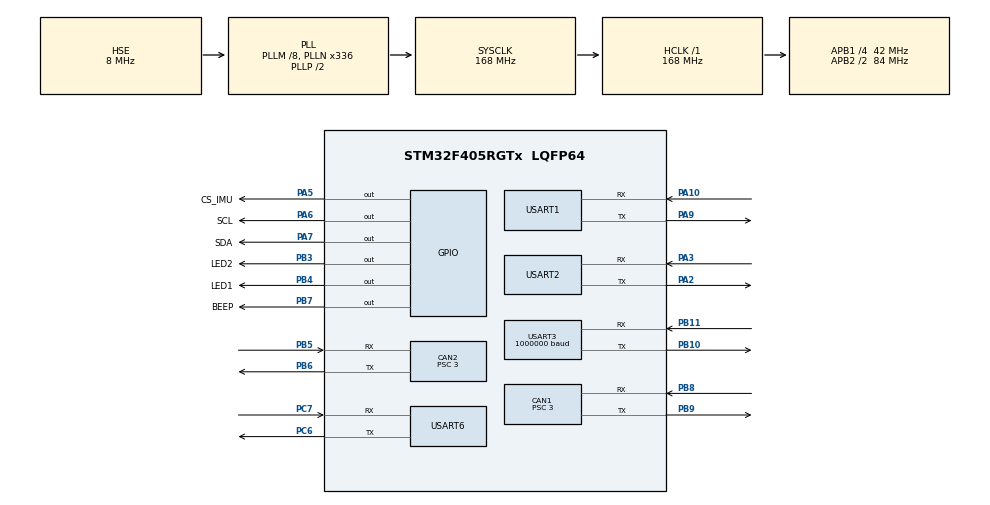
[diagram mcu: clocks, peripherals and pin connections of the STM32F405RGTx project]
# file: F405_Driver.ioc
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CAN1.ABOM=ENABLE
CAN1.BS1=CAN_BS1_9TQ
CAN1.BS2=CAN_BS2_4TQ
CAN1.CalculateBaudRate=1000000
CAN1.CalculateTimeBit=1000
CAN1.CalculateTimeQuantum=71.42857142857143
CAN1.Prescaler=3
CAN2.ABOM=ENABLE
CAN2.BS1=CAN_BS1_9TQ
CAN2.BS2=CAN_BS2_4TQ
CAN2.CalculateBaudRate=1000000
CAN2.CalculateTimeBit=1000
CAN2.CalculateTimeQuantum=71.42857142857143
CAN2.Prescaler=3
Dma.Request0=USART1_RX
Dma.Request1=USART1_TX
Dma.Request2=USART2_RX
Dma.Request3=USART2_TX
Dma.USART1_RX.0.Direction=DMA_PERIPH_TO_MEMORY
Dma.USART1_RX.0.FIFOMode=DMA_FIFOMODE_DISABLE
Dma.USART1_RX.0.Instance=DMA2_Stream2
Dma.USART1_RX.0.MemDataAlignment=DMA_MDATAALIGN_BYTE
Dma.USART1_RX.0.MemInc=DMA_MINC_ENABLE
Dma.USART1_RX.0.Mode=DMA_NORMAL
Dma.USART1_RX.0.PeriphDataAlignment=DMA_PDATAALIGN_BYTE
Dma.USART1_RX.0.PeriphInc=DMA_PINC_DISABLE
Dma.USART1_RX.0.Priority=DMA_PRIORITY_LOW
Dma.USART1_TX.1.Direction=DMA_MEMORY_TO_PERIPH
Dma.USART1_TX.1.FIFOMode=DMA_FIFOMODE_DISABLE
Dma.USART1_TX.1.Instance=DMA2_Stream7
Dma.USART1_TX.1.MemDataAlignment=DMA_MDATAALIGN_BYTE
Dma.USART1_TX.1.MemInc=DMA_MINC_ENABLE
Dma.USART1_TX.1.Mode=DMA_NORMAL
Dma.USART1_TX.1.PeriphDataAlignment=DMA_PDATAALIGN_BYTE
Dma.USART1_TX.1.PeriphInc=DMA_PINC_DISABLE
Dma.USART1_TX.1.Priority=DMA_PRIORITY_LOW
Dma.USART2_RX.2.Direction=DMA_PERIPH_TO_MEMORY
Dma.USART2_RX.2.FIFOMode=DMA_FIFOMODE_DISABLE
Dma.USART2_RX.2.Instance=DMA1_Stream5
Dma.USART2_RX.2.MemDataAlignment=DMA_MDATAALIGN_BYTE
Dma.USART2_RX.2.MemInc=DMA_MINC_ENABLE
Dma.USART2_RX.2.Mode=DMA_NORMAL
Dma.USART2_RX.2.PeriphDataAlignment=DMA_PDATAALIGN_BYTE
Dma.USART2_RX.2.PeriphInc=DMA_PINC_DISABLE
Dma.USART2_RX.2.Priority=DMA_PRIORITY_LOW
Dma.USART2_TX.3.Direction=DMA_MEMORY_TO_PERIPH
Dma.USART2_TX.3.FIFOMode=DMA_FIFOMODE_DISABLE
Dma.USART2_TX.3.Instance=DMA1_Stream6
Dma.USART2_TX.3.MemDataAlignment=DMA_MDATAALIGN_BYTE
Dma.USART2_TX.3.MemInc=DMA_MINC_ENABLE
Dma.USART2_TX.3.Mode=DMA_NORMAL
Dma.USART2_TX.3.PeriphDataAlignment=DMA_PDATAALIGN_BYTE
Dma.USART2_TX.3.PeriphInc=DMA_PINC_DISABLE
Dma.USART2_TX.3.Priority=DMA_PRIORITY_LOW
Mcu.Family=STM32F4
Mcu.Name=STM32F405RGTx
Mcu.Package=LQFP64
NVIC.CAN1_RX0_IRQn=true\:0\:0\:false\:false\:true\:true\:true\:true
NVIC.CAN1_RX1_IRQn=true\:0\:0\:false\:false\:true\:true\:true\:true
NVIC.CAN2_RX0_IRQn=true\:0\:0\:false\:false\:true\:true\:true\:true
NVIC.CAN2_RX1_IRQn=true\:0\:0\:false\:false\:true\:true\:true\:true
NVIC.DMA1_Stream5_IRQn=true\:0\:0\:false\:false\:true\:false\:true\:true
NVIC.DMA1_Stream6_IRQn=true\:0\:0\:false\:false\:true\:false\:true\:true
NVIC.DMA2_Stream2_IRQn=true\:0\:0\:false\:false\:true\:false\:true\:true
NVIC.DMA2_Stream7_IRQn=true\:0\:0\:false\:false\:true\:false\:true\:true
NVIC.PriorityGroup=NVIC_PRIORITYGROUP_4
NVIC.TIM3_IRQn=true\:0\:0\:false\:false\:true\:true\:true\:true
NVIC.USART1_IRQn=true\:0\:0\:false\:false\:true\:true\:true\:true
NVIC.USART2_IRQn=true\:0\:0\:false\:false\:true\:true\:true\:true
NVIC.USART3_IRQn=true\:0\:0\:false\:false\:true\:true\:true\:true
NVIC.USART6_IRQn=true\:0\:0\:false\:false\:true\:true\:true\:true
PA10.Mode=Asynchronous
PA10.Signal=USART1_RX
PA13.Mode=Serial_Wire
PA13.Signal=SYS_JTMS-SWDIO
PA14.Mode=Serial_Wire
PA14.Signal=SYS_JTCK-SWCLK
PA2.Mode=Asynchronous
PA2.Signal=USART2_TX
PA3.Mode=Asynchronous
PA3.Signal=USART2_RX
PA5.GPIO_Label=CS_IMU
PA5.GPIO_PuPd=GPIO_PULLUP
PA5.Signal=GPIO_Output
PA6.GPIO_Label=SCL
PA6.GPIO_Speed=GPIO_SPEED_FREQ_VERY_HIGH
PA6.Signal=GPIO_Output
PA7.GPIO_Label=SDA
PA7.GPIO_Speed=GPIO_SPEED_FREQ_VERY_HIGH
PA7.PinState=GPIO_PIN_RESET
PA7.Signal=GPIO_Output
PA9.Mode=Asynchronous
PA9.Signal=USART1_TX
PB10.Mode=Asynchronous
PB10.Signal=USART3_TX
PB11.Mode=Asynchronous
PB11.Signal=USART3_RX
PB3.GPIO_Label=LED2
PB3.GPIO_PuPd=GPIO_PULLUP
PB3.Signal=GPIO_Output
PB4.GPIO_Label=LED1
PB4.GPIO_PuPd=GPIO_PULLUP
PB4.Signal=GPIO_Output
PB5.Mode=CAN_Activate
PB5.Signal=CAN2_RX
PB6.Mode=CAN_Activate
PB6.Signal=CAN2_TX
PB7.GPIO_Label=BEEP
PB7.GPIO_PuPd=GPIO_PULLUP
PB7.Signal=GPIO_Output
PB8.Mode=CAN_Activate
PB8.Signal=CAN1_RX
PB9.Mode=CAN_Activate
PB9.Signal=CAN1_TX
PC6.Mode=Asynchronous
PC6.Signal=USART6_TX
PC7.Mode=Asynchronous
PC7.Signal=USART6_RX
PH0-OSC_IN.Mode=HSE-External-Oscillator
PH0-OSC_IN.Signal=RCC_OSC_IN
PH1-OSC_OUT.Mode=HSE-External-Oscillator
PH1-OSC_OUT.Signal=RCC_OSC_OUT
ProjectManager.HeapSize=0x200
ProjectManager.StackSize=0x400
ProjectManager.TargetToolchain=MDK-ARM V5.32
RCC.48MHZClocksFreq_Value=84000000
RCC.AHBFreq_Value=168000000
RCC.APB1CLKDivider=RCC_HCLK_DIV4
RCC.APB1Freq_Value=42000000
RCC.APB1TimFreq_Value=84000000
RCC.APB2CLKDivider=RCC_HCLK_DIV2
RCC.APB2Freq_Value=84000000
RCC.APB2TimFreq_Value=168000000
RCC.CortexFreq_Value=168000000
RCC.HCLKFreq_Value=168000000
RCC.HSE_VALUE=8000000
RCC.HSI_VALUE=16000000
RCC.LSE_VALUE=32768
RCC.PLLM=8
RCC.PLLN=336
RCC.PLLSourceVirtual=RCC_PLLSOURCE_HSE
RCC.SYSCLKFreq_VALUE=168000000
RCC.SYSCLKSource=RCC_SYSCLKSOURCE_PLLCLK
RCC.VCOOutputFreq_Value=336000000
STMicroelectronics.X-CUBE-ALGOBUILD.1.2.1.LibraryCcDSPOoLibraryJjDSPOoLibrary=true
TIM3.Period=419
TIM3.Prescaler=99
USART1.VirtualMode=VM_ASYNC
USART2.VirtualMode=VM_ASYNC
USART3.BaudRate=1000000
USART3.VirtualMode=VM_ASYNC
USART6.VirtualMode=VM_ASYNC
VP_STMicroelectronics.X-CUBE-ALGOBUILD_VS_DSPOoLibraryJjLibrary_1.2.1_1.2.1.Mode=DSPOoLibraryJjLibrary
VP_TIM3_VS_ClockSourceINT.Mode=Internal
board=custom

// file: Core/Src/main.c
/* USER CODE BEGIN Header */
/**
 ******************************************************************************
 * @file           : main.c
 * @brief          : Main program body
 ******************************************************************************
 * @attention
 *
 * Copyright (c) 2026 STMicroelectronics.
 * All rights reserved.
 *
 * This software is licensed under terms that can be found in the LICENSE file
 * in the root directory of this software component.
 * If no LICENSE file comes with this software, it is provided AS-IS.
 *
 ******************************************************************************
 */
/* USER CODE END Header */
#include "main.h"
#include "can.h"
#include "dma.h"
#include "tim.h"
#include "usart.h"
#include "gpio.h"

/* USER CODE BEGIN Includes */
#include <math.h>
#define ARM_MATH_CM4
#include "arm_math.h"
#include "stdlib.h"
#include "drv_bsp.h"
#include "dvc_serialplot.h"
#include "dvc_motor_dm.h"
#include "dvc_motor.h"

/* USER CODE END Includes */

/* USER CODE BEGIN PV */
float flag = 0, i = 0, j = 0;
Class_Serialplot serialplot;
Class_Motor_DM_Normal motor_j4340_1;
Class_Motor_DM_Normal motor_j4340_2;
// Class_Motor_DM_Normal motor_j6006;
// Class_Motor_DM_Normal motor_j8006;

uint32_t Counter = 0;
static char Variable_Assignment_List[][SERIALPLOT_RX_VARIABLE_ASSIGNMENT_MAX_LENGTH] = {
    // 电机调PID
    "po",
    "io",
    "do",
    "fo",
};

/* USER CODE END PV */

void SystemClock_Config(void);
/* USER CODE BEGIN PFP */
void Task_Test_DM_Motor(float a, float w, float b);
/* USER CODE END PFP */

/* USER CODE BEGIN 0 */

/**
 * @brief CAN报文回调函数
 *
 * @param Rx_Buffer CAN接收的信息结构体
 */
void CAN_Motor_Call_Back(Struct_CAN_Rx_Buffer *Rx_Buffer)
{
  switch (Rx_Buffer->Header.StdId)
  {
  // case (0x201):
  // {
  //     motor_3508.CAN_RxCpltCallback(Rx_Buffer->Data);
  // }
  // break;
  // case (0x205):
  // {
  //     motor_6020.CAN_RxCpltCallback(Rx_Buffer->Data);
  // }
  // break;
  case (0x06):
  {
    motor_j4340_1.CAN_RxCpltCallback(Rx_Buffer->Data);
  }
  break;
  case (0x07):
  {
    motor_j4340_2.CAN_RxCpltCallback(Rx_Buffer->Data);
  }
  break;
  }
}

/**
 * @brief HAL库UART接收DMA空闲中断
 *
 * @param huart UART编号
 * @param Size 长度
 */
void UART_Serialplot_Call_Back(uint8_t *Buffer, uint16_t Length)
{
  serialplot.UART_RxCpltCallback(Buffer);
  switch (serialplot.Get_Variable_Index())
  {
    // 电机调PID
    // case(0):
    // {
    //     motor_3508.PID_Omega.Set_K_P(serialplot.Get_Variable_Value());
    // }
    // break;
    // case(1):
    // {
    //     motor_3508.PID_Omega.Set_K_I(serialplot.Get_Variable_Value());
    // }
    // break;
    // case(2):
    // {
    //     motor_3508.PID_Omega.Set_K_D(serialplot.Get_Variable_Value());
    // }
    // break;
    // case(3):
    // {
    //     motor_3508.PID_Omega.Set_K_F(serialplot.Get_Variable_Value());
    // }
    // break;
  }
}

void UART_Null_CallBack(uint8_t *Buffer, uint16_t Length)
{

}

void HAL_TIM_PeriodElapsedCallback(TIM_HandleTypeDef *htim)
{
	if (htim == &htim3)
	{
		HAL_GPIO_TogglePin(GPIOB, GPIO_PIN_3);
		serialplot.TIM_Write_PeriodElapsedCallback();
		TIM_UART_PeriodElapsedCallback();
	}
}

/* USER CODE END 0 */

int main(void)
{

  /* MCU Configuration--------------------------------------------------------*/

  /* Reset of all peripherals, Initializes the Flash interface and the Systick. */
  HAL_Init();

  /* Configure the system clock */
  SystemClock_Config();

  /* Initialize all configured peripherals */
  MX_GPIO_Init();
  MX_DMA_Init();
  MX_CAN1_Init();
  MX_USART1_UART_Init();
  MX_USART3_UART_Init();
  MX_USART2_UART_Init();
  MX_USART6_UART_Init();
  MX_CAN2_Init();
  MX_TIM3_Init();
  /* USER CODE BEGIN 2 */
  // BSP_Init(BSP_LED_1_ON | BSP_LED_2_ON | BSP_BEEP_ON);
  CAN_Init(&hcan1, CAN_Motor_Call_Back);
  // CAN_Init(&hcan2, CAN_Motor_Call_Back);
  UART_Init(&huart1, UART_Serialplot_Call_Back, SERIALPLOT_RX_VARIABLE_ASSIGNMENT_MAX_LENGTH);
  // UART_Init(&huart1, UART_Null_CallBack, UART_BUFFER_SIZE);
	serialplot.Init(&huart1, 6, (char **)Variable_Assignment_List);
	HAL_TIM_Base_Start_IT(&htim3);
  // 定义电机结构体
  motor_j4340_1.Init(&hcan1, 0x06, 0x01, Motor_DM_Control_Method_NORMAL_MIT);
  motor_j4340_2.Init(&hcan1, 0x07, 0x02, Motor_DM_Control_Method_NORMAL_MIT);
  float a = 0.780 + (rand() / (float)RAND_MAX) * (1.045 - 0.780);
  float w = 1.844 + (rand() / (float)RAND_MAX) * (2.000 - 1.844);
  float b = 2.090 - a;
  /* USER CODE END 2 */

  /* Infinite loop */
  /* USER CODE BEGIN WHILE */
  while (1)
  {
    Task_Test_DM_Motor(a, w, b);
//		for(i = 0; i < 1000; i++)
//		{
//			for(j = 0; j < 1000; j++)
//			{
//				sin((float)(i + j));
//			}
//		}
//		flag = 1;
//		for(i = 0; i < 1000; i++)
//		{
//			for(j = 0; j < 1000; j++)
//			{
//				arm_sin_f32(i + j);
//			}
//		}
//		flag = 0;

    /* USER CODE END WHILE */

  }
}

void SystemClock_Config(void)
{
  RCC_OscInitTypeDef RCC_OscInitStruct = {0};
  RCC_ClkInitTypeDef RCC_ClkInitStruct = {0};

  /** Configure the main internal regulator output voltage
  */
  __HAL_RCC_PWR_CLK_ENABLE();
  __HAL_PWR_VOLTAGESCALING_CONFIG(PWR_REGULATOR_VOLTAGE_SCALE1);

  /** Initializes the RCC Oscillators according to the specified parameters
  * in the RCC_OscInitTypeDef structure.
  */
  RCC_OscInitStruct.OscillatorType = RCC_OSCILLATORTYPE_HSE;
  RCC_OscInitStruct.HSEState = RCC_HSE_ON;
  RCC_OscInitStruct.PLL.PLLState = RCC_PLL_ON;
  RCC_OscInitStruct.PLL.PLLSource = RCC_PLLSOURCE_HSE;
  RCC_OscInitStruct.PLL.PLLM = 8;
  RCC_OscInitStruct.PLL.PLLN = 336;
  RCC_OscInitStruct.PLL.PLLP = RCC_PLLP_DIV2;
  RCC_OscInitStruct.PLL.PLLQ = 4;
  if (HAL_RCC_OscConfig(&RCC_OscInitStruct) != HAL_OK)
  {
    Error_Handler();
  }

  /** Initializes the CPU, AHB and APB buses clocks
  */
  RCC_ClkInitStruct.ClockType = RCC_CLOCKTYPE_HCLK|RCC_CLOCKTYPE_SYSCLK
                              |RCC_CLOCKTYPE_PCLK1|RCC_CLOCKTYPE_PCLK2;
  RCC_ClkInitStruct.SYSCLKSource = RCC_SYSCLKSOURCE_PLLCLK;
  RCC_ClkInitStruct.AHBCLKDivider = RCC_SYSCLK_DIV1;
  RCC_ClkInitStruct.APB1CLKDivider = RCC_HCLK_DIV4;
  RCC_ClkInitStruct.APB2CLKDivider = RCC_HCLK_DIV2;

  if (HAL_RCC_ClockConfig(&RCC_ClkInitStruct, FLASH_LATENCY_5) != HAL_OK)
  {
    Error_Handler();
  }
}

/* USER CODE BEGIN 4 */
/**
 * @brief 测试电机任务
 *
 */
void Task_Test_DM_Motor(float a, float w, float b)
{
  Counter++;
  // motor_j4340_1.Set_Control_Angle((Counter / 3000) % 2 == 0 ? -PI : PI);
  motor_j4340_1.Set_Control_Angle(PI * sin((float)Counter / 1500.0f * 3.0f));
  // motor_j4340_1.Set_Control_Angle(a * sin((float)Counter / 1000.0f * w + b));
  motor_j4340_1.Set_Control_Omega(0.0f);
  motor_j4340_1.Set_Control_Torque(0.0f);
  motor_j4340_1.Set_K_P(3.0f);
  // motor_j4340_1.Set_K_P(5.0f);
  motor_j4340_1.Set_K_D(0.4f);
  motor_j4340_1.TIM_Send_PeriodElapsedCallback();

  // motor_j4340_2.Set_Control_Angle((Counter / 3000) % 2 == 0 ? -PI : PI);
  motor_j4340_2.Set_Control_Angle(PI * sin((float)Counter / 1500.0f * 3.0f));
  motor_j4340_2.Set_Control_Omega(0.0f);
  motor_j4340_2.Set_Control_Torque(0.0f);
  motor_j4340_2.Set_K_P(5.0f);
  motor_j4340_2.Set_K_D(0.4f);
  motor_j4340_2.TIM_Send_PeriodElapsedCallback();

  // 保持存活
  static uint32_t Counter_KeepAlive = 0;
  if (Counter_KeepAlive++ > 100)
  {
    Counter_KeepAlive = 0;
    motor_j4340_1.TIM_Alive_PeriodElapsedCallback();
    motor_j4340_2.TIM_Alive_PeriodElapsedCallback();
  }

  // 串口绘图显示内容
  float status = motor_j4340_1.Get_Control_Status();
  float control_angle = motor_j4340_1.Get_Control_Angle();
  float now_angle = motor_j4340_1.Get_Now_Angle();
  float control_omega = motor_j4340_1.Get_Control_Omega();
  float now_omega = motor_j4340_1.Get_Now_Omega();
  float control_torque = motor_j4340_1.Get_Control_Torque();
  float now_torque = motor_j4340_1.Get_Now_Torque();
  float temperature_mos = motor_j4340_1.Get_Now_MOS_Temperature();
  float temperature_rotor = motor_j4340_1.Get_Now_Rotor_Temperature();
  float k_p = motor_j4340_1.Get_K_P();
  float k_d = motor_j4340_1.Get_K_D();
  serialplot.Set_Data(11, &status, &control_angle, &now_angle, &control_omega, &now_omega, &control_torque, &now_torque, &temperature_mos, &temperature_rotor, &k_p, &k_d);

  // 通信设备回调数据
  TIM_CAN_PeriodElapsedCallback();

  // 延时1ms
  HAL_Delay(0);
}

/* USER CODE END 4 */

void Error_Handler(void)
{
  __disable_irq();
  while (1)
  {
  }
}
